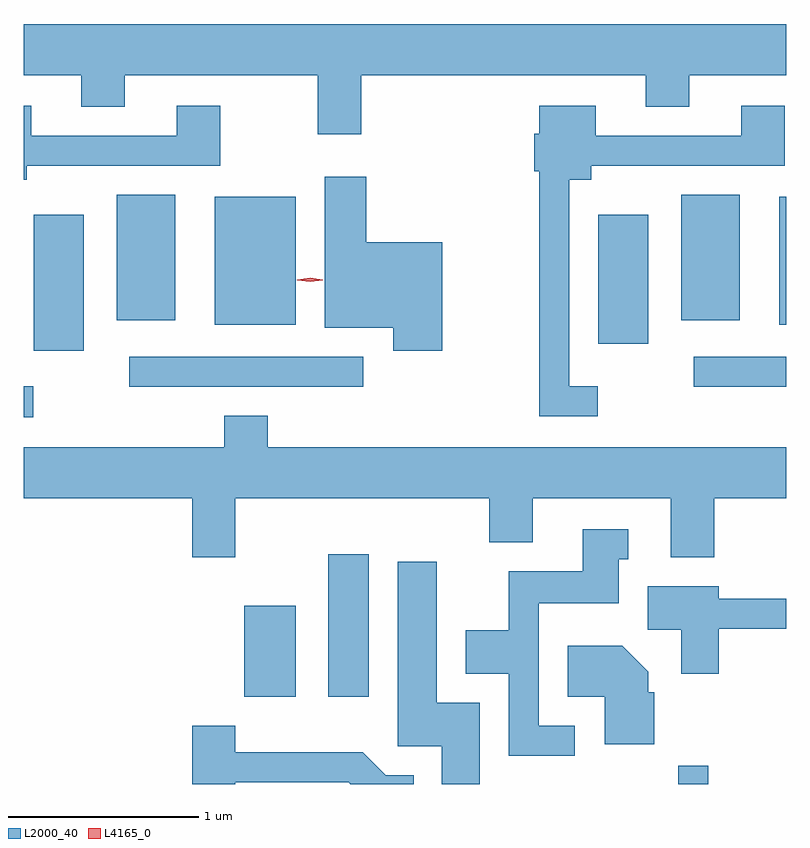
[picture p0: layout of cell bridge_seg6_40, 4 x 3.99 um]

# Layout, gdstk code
import gdstk
lib = gdstk.Library(unit=1e-6, precision=1e-09)
def R(c, l, rs):  # rectangles x0, y0, x1, y1
    for r in rs: c.add(gdstk.rectangle(r[:2], r[2:], *l))
def P(c, l, *ps):  # polygons
    for p in ps: c.add(gdstk.Polygon(p, *l))
L2000_40 = (2000, 40)
L4165_0 = (4165, 0)

bridge_seg6_40 = lib.new_cell('bridge_seg6_40')
R(bridge_seg6_40, L2000_40, [(1621.651,1661.758,1621.809,1661.853), (1619.376,1662.216,1619.644,1662.694), (1619.816,1662.216,1620.029,1662.964), (1618.218,1663.681,1618.268,1663.844), (1618.773,1663.841,1619.998,1663.999), (1621.733,1663.841,1622.218,1663.999), (1618.271,1664.031,1618.534,1664.744), (1621.231,1664.066,1621.494,1664.744), (1619.221,1664.166,1619.644,1664.839), (1622.181,1664.166,1622.218,1664.839), (1618.706,1664.191,1619.014,1664.849), (1621.666,1664.191,1621.974,1664.849)])
P(bridge_seg6_40, L2000_40, [(1619.989,1665.476),(1621.481,1665.476),(1621.481,1665.311),(1621.709,1665.311),(1621.709,1665.476),(1622.218,1665.476),(1622.218,1665.744),(1618.218,1665.744),(1618.218,1665.476),(1618.521,1665.476),(1618.521,1665.311),(1618.749,1665.311),(1618.749,1665.476),(1619.761,1665.476),(1619.761,1665.166),(1619.989,1665.166)],
  [(1621.228,1663.844),(1621.079,1663.844),(1621.079,1664.926),(1621.194,1664.926),(1621.194,1665.001),(1622.209,1665.001),(1622.209,1665.314),(1621.981,1665.314),(1621.981,1665.159),(1621.219,1665.159),(1621.219,1665.314),(1620.921,1665.314),(1620.921,1665.169),(1620.896,1665.169),(1620.896,1664.971),(1620.921,1664.971),(1620.921,1663.686),(1621.228,1663.686)],
  [(1618.234,1665.001),(1619.249,1665.001),(1619.249,1665.314),(1619.021,1665.314),(1619.021,1665.159),(1618.259,1665.159),(1618.259,1665.314),(1618.218,1665.314),(1618.218,1664.926),(1618.234,1664.926)],
  [(1620.414,1664.599),(1620.014,1664.599),(1620.014,1664.944),(1619.796,1664.944),(1619.796,1664.151),(1620.156,1664.151),(1620.156,1664.031),(1620.414,1664.031)],
  [(1619.329,1663.256),(1620.661,1663.256),(1620.661,1663.026),(1620.889,1663.026),(1620.889,1663.256),(1621.611,1663.256),(1621.611,1662.946),(1621.839,1662.946),(1621.839,1663.256),(1622.218,1663.256),(1622.218,1663.524),(1619.499,1663.524),(1619.499,1663.689),(1619.271,1663.689),(1619.271,1663.524),(1618.218,1663.524),(1618.218,1663.256),(1619.101,1663.256),(1619.101,1662.946),(1619.329,1662.946)],
  [(1621.108,1662.064),(1620.919,1662.064),(1620.919,1662.706),(1621.339,1662.706),(1621.339,1662.936),(1621.388,1662.936),(1621.388,1663.094),(1621.151,1663.094),(1621.151,1662.874),(1620.761,1662.874),(1620.761,1662.564),(1620.536,1662.564),(1620.536,1662.336),(1620.761,1662.336),(1620.761,1661.906),(1621.108,1661.906)],
  [(1620.609,1662.184),(1620.384,1662.184),(1620.384,1662.924),(1620.181,1662.924),(1620.181,1661.956),(1620.411,1661.956),(1620.411,1661.758),(1620.609,1661.758)],
  [(1621.864,1662.571),(1622.218,1662.571),(1622.218,1662.729),(1621.864,1662.729),(1621.864,1662.794),(1621.491,1662.794),(1621.491,1662.566),(1621.666,1662.566),(1621.666,1662.336),(1621.864,1662.336)],
  [(1621.524,1662.239),(1621.494,1662.239),(1621.494,1662.347),(1621.357,1662.484),(1621.071,1662.484),(1621.071,1662.216),(1621.266,1662.216),(1621.266,1661.966),(1621.524,1661.966)],
  [(1619.329,1661.766),(1619.924,1661.766),(1619.932,1661.758),(1620.263,1661.758),(1620.263,1661.804),(1620.117,1661.804),(1619.997,1661.924),(1619.329,1661.924),(1619.329,1662.064),(1619.101,1662.064),(1619.101,1661.758),(1619.329,1661.758)])
P(bridge_seg6_40, L4165_0, [(1619.72,1664.392),(1619.654,1664.401),(1619.654,1664.402),(1619.654,1664.402),(1619.72,1664.412),(1619.786,1664.402),(1619.787,1664.402),(1619.786,1664.401)])

lib.write_gds('bridge_seg6_40.gds')
